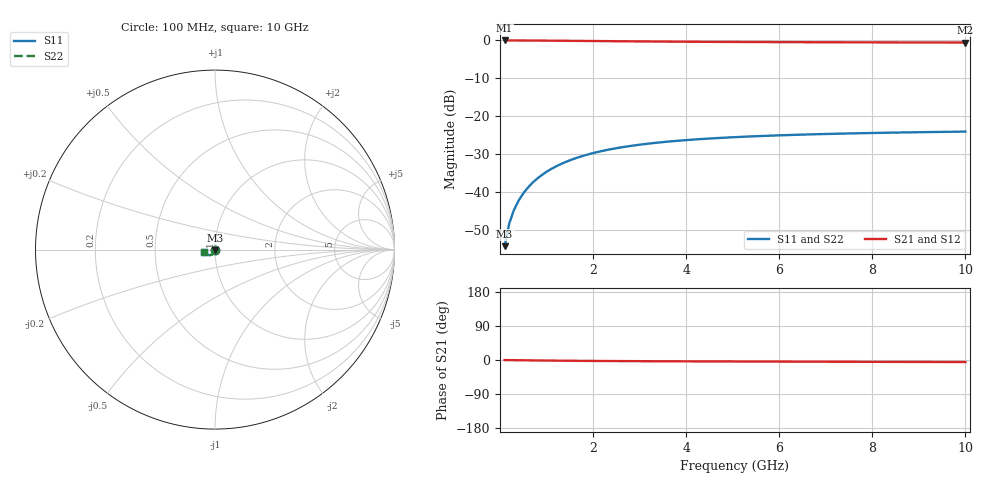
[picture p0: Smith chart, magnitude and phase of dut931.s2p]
! Touchstone file exported from HFSS 2024.1.0
!  File:  C:/UserFiles/LocalFiles/RDL_TSV_Batchsim/temp_TSV1_931_1779947315.aedt
!  Generated:  01:52:48 PM May 28, 2026
!  Design:  TSV1
!  Project:  temp_TSV1_931_1779947315
!  Setup:  Setup1
!  Solution:  Sweep
! Variables:
!  dtsv = 14.82um
!  hbump = 3um
!  htsv = 82.06um
!  lrdl = 252.1521522um
!  p = 40
!  p1 = 53.6um
!  t = 500um
!  trdl = 3um
!  wrdl = 24.89489489um
# GHz S MA R 50.000000
! Terminal data exported
! Port[1] = TSV22_T1
! Port[2] = TSV22_T2
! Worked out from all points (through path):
!   100 points, 100 MHz to 10 GHz, reference 50 ohm
!   highest |S21| = 0.00 dB at 100 MHz (marker M1); lowest = -0.5 dB at 10 GHz (marker M2)
!   lowest |S11| = -54.3 dB at 100 MHz (marker M3), VSWR 1.00, Z = 50 - j0.192 ohm
!   |S11| at or under -10 dB: start of sweep to end of sweep
!   |S22| runs from -54.3 to -24.1 dB; largest |S21 - S12| = 4.2e-15
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0.1  0.001922 -89.4  0.9999 -0.2  0.9999 -0.2  0.001922 -89.4
! Gamma 0 0 0 0
! Port Impedance 50 0 50 0
0.2  0.003843 -92.3  0.9996 -0.3  0.9996 -0.3  0.003843 -92.3
0.3  0.005761 -94.5  0.9993 -0.5  0.9993 -0.5  0.005761 -94.5
0.4  0.007664 -96.5  0.9989 -0.6  0.9989 -0.6  0.007664 -96.5
0.5  0.009545 -98.5  0.9983 -0.8  0.9983 -0.8  0.009546 -98.5
0.6  0.0114 -100.4  0.9977 -0.9  0.9977 -0.9  0.0114 -100.4
0.7  0.01322 -102.2  0.9969 -1.1  0.9969 -1.1  0.01322 -102.2
0.8  0.015 -104.0  0.9961 -1.2  0.9961 -1.2  0.015 -104.0
0.9  0.01673 -105.8  0.9952 -1.3  0.9952 -1.3  0.01673 -105.8
1.1  0.02007 -109.2  0.9932 -1.6  0.9932 -1.6  0.02007 -109.2
1.4  0.02469 -114.0  0.9899 -1.9  0.9899 -1.9  0.02469 -114.0
1.6  0.02752 -117.0  0.9875 -2.1  0.9875 -2.1  0.02752 -117.0
1.8  0.03013 -119.8  0.9851 -2.3  0.9851 -2.3  0.03013 -119.8
2.1  0.03368 -123.7  0.9814 -2.6  0.9814 -2.6  0.03368 -123.7
2.5  0.03778 -128.4  0.9768 -2.8  0.9768 -2.8  0.03778 -128.4
2.9  0.04124 -132.5  0.9724 -3.1  0.9724 -3.1  0.04124 -132.5
3.4  0.04484 -136.9  0.9676 -3.3  0.9676 -3.3  0.04484 -136.9
4.2  0.04932 -142.8  0.9611 -3.6  0.9611 -3.6  0.04932 -142.8
5.1  0.05305 -148.2  0.9553 -3.9  0.9553 -3.9  0.05305 -148.2
6.7  0.05756 -155.4  0.9479 -4.4  0.9479 -4.4  0.05756 -155.4
8.4  0.06061 -161.2  0.9427 -4.9  0.9427 -4.9  0.06061 -161.2
10  0.06256 -165.5  0.9393 -5.4  0.9393 -5.4  0.06256 -165.5
